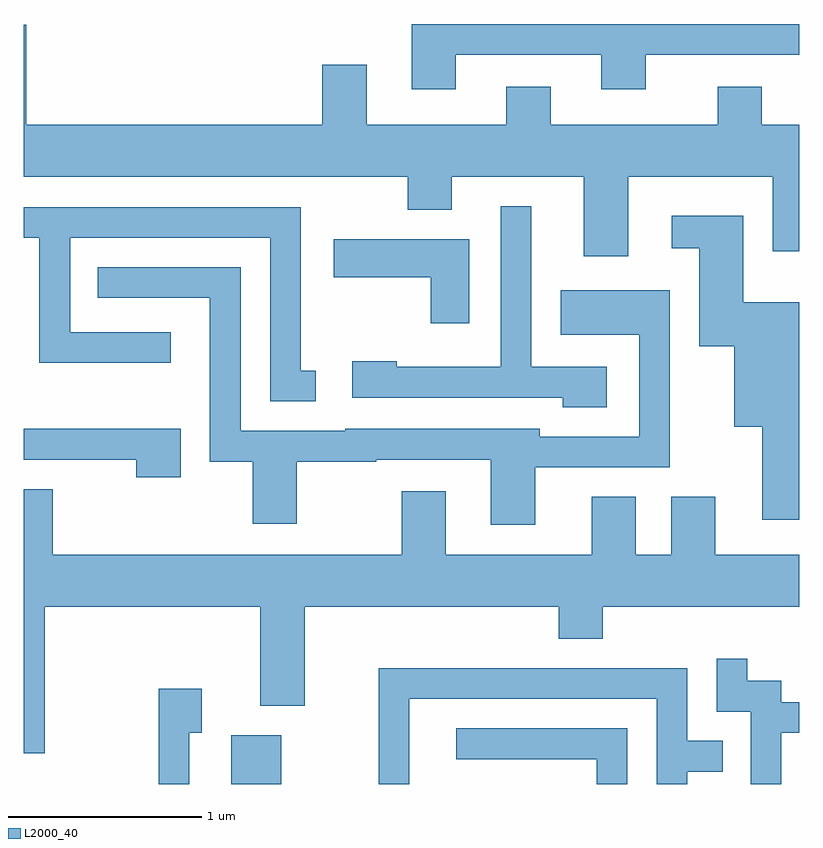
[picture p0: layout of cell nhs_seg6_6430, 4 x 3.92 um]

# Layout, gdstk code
import gdstk
lib = gdstk.Library(unit=1e-6, precision=1e-09)
def R(c, l, rs):  # rectangles x0, y0, x1, y1
    for r in rs: c.add(gdstk.rectangle(r[:2], r[2:], *l))
def P(c, l, *ps):  # polygons
    for p in ps: c.add(gdstk.Polygon(p, *l))
L2000_40 = (2000, 40)

nhs_seg6_6430 = lib.new_cell('nhs_seg6_6430')
R(nhs_seg6_6430, L2000_40, [(380.681,1620.162,380.939,1620.414)])
P(nhs_seg6_6430, L2000_40, [(381.839,1623.926),(382.591,1623.926),(382.591,1623.746),(382.819,1623.746),(382.819,1623.926),(383.611,1623.926),(383.611,1624.084),(381.611,1624.084),(381.611,1623.746),(381.839,1623.746)],
  [(382.729,1623.296),(383.476,1623.296),(383.476,1622.911),(383.611,1622.911),(383.611,1623.564),(383.419,1623.564),(383.419,1623.759),(383.191,1623.759),(383.191,1623.564),(382.329,1623.564),(382.329,1623.759),(382.101,1623.759),(382.101,1623.564),(381.379,1623.564),(381.379,1623.874),(381.151,1623.874),(381.151,1623.564),(379.624,1623.564),(379.624,1624.079),(379.611,1624.079),(379.611,1623.296),(381.591,1623.296),(381.591,1623.126),(381.819,1623.126),(381.819,1623.296),(382.501,1623.296),(382.501,1622.886),(382.729,1622.886)],
  [(382.619,1622.314),(382.229,1622.314),(382.229,1623.143),(382.071,1623.143),(382.071,1622.314),(381.534,1622.314),(381.534,1622.344),(381.306,1622.344),(381.306,1622.156),(382.391,1622.156),(382.391,1622.106),(382.619,1622.106)],
  [(381.118,1622.294),(381.039,1622.294),(381.039,1623.139),(379.611,1623.139),(379.611,1622.981),(379.691,1622.981),(379.691,1622.336),(380.368,1622.336),(380.368,1622.494),(379.849,1622.494),(379.849,1622.981),(380.881,1622.981),(380.881,1622.136),(381.118,1622.136)],
  [(383.611,1622.649),(383.324,1622.649),(383.324,1623.094),(382.953,1623.094),(382.953,1622.926),(383.096,1622.926),(383.096,1622.421),(383.276,1622.421),(383.276,1622.006),(383.421,1622.006),(383.421,1621.526),(383.611,1621.526)],
  [(381.909,1622.974),(381.211,1622.974),(381.211,1622.776),(381.711,1622.776),(381.711,1622.541),(381.909,1622.541)],
  [(382.249,1621.796),(382.944,1621.796),(382.944,1622.709),(382.381,1622.709),(382.381,1622.481),(382.786,1622.481),(382.786,1621.954),(382.274,1621.954),(382.274,1621.994),(381.27,1621.994),(381.27,1621.984),(380.729,1621.984),(380.729,1622.829),(379.993,1622.829),(379.993,1622.671),(380.571,1622.671),(380.571,1621.826),(380.791,1621.826),(380.791,1621.506),(381.019,1621.506),(381.019,1621.826),(381.43,1621.826),(381.43,1621.836),(382.021,1621.836),(382.021,1621.501),(382.249,1621.501)],
  [(380.419,1621.994),(379.611,1621.994),(379.611,1621.836),(380.191,1621.836),(380.191,1621.746),(380.419,1621.746)],
  [(379.719,1621.076),(380.831,1621.076),(380.831,1620.566),(381.059,1620.566),(381.059,1621.076),(382.371,1621.076),(382.371,1620.911),(382.599,1620.911),(382.599,1621.076),(383.611,1621.076),(383.611,1621.344),(383.179,1621.344),(383.179,1621.644),(382.951,1621.644),(382.951,1621.344),(382.769,1621.344),(382.769,1621.644),(382.541,1621.644),(382.541,1621.344),(381.789,1621.344),(381.789,1621.674),(381.561,1621.674),(381.561,1621.344),(379.759,1621.344),(379.759,1621.684),(379.611,1621.684),(379.611,1620.321),(379.719,1620.321)],
  [(383.519,1620.426),(383.611,1620.426),(383.611,1620.584),(383.519,1620.584),(383.519,1620.694),(383.344,1620.694),(383.344,1620.808),(383.186,1620.808),(383.186,1620.536),(383.361,1620.536),(383.361,1620.162),(383.519,1620.162)],
  [(381.599,1620.601),(382.876,1620.601),(382.876,1620.162),(383.034,1620.162),(383.034,1620.226),(383.218,1620.226),(383.218,1620.384),(383.034,1620.384),(383.034,1620.759),(381.441,1620.759),(381.441,1620.162),(381.599,1620.162)],
  [(380.464,1620.426),(380.529,1620.426),(380.529,1620.654),(380.306,1620.654),(380.306,1620.162),(380.464,1620.162)],
  [(382.724,1620.449),(381.843,1620.449),(381.843,1620.291),(382.566,1620.291),(382.566,1620.162),(382.724,1620.162)])

lib.write_gds('nhs_seg6_6430.gds')
